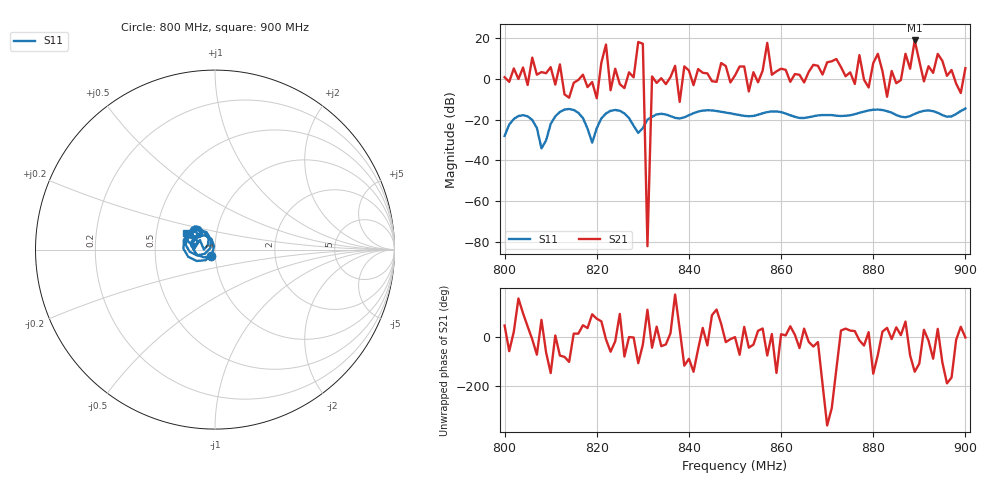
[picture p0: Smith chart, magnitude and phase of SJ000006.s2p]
!File created by NanoVNA-F V2
# Hz S RI R 50
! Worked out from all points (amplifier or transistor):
!   101 points, 800 MHz to 900 MHz, reference 50 ohm
!   highest |S21| = 18.8 dB at 889 MHz (marker M1)
!   |S21| within 3 dB of that: 828.8707 MHz to 830.0139 MHz (1.143 MHz wide, 0.138 % of centre)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
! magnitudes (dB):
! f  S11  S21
! 800 MHz  -28.0  0.8
! 817 MHz  -19.3  2.0
! 820 MHz  -24.2  -9.5
! 822 MHz  -17.0  16.8
! 823 MHz  -15.7  -5.6
! 826 MHz  -17.0  -4.5
! 830 MHz  -24.2  17.2
! 831 MHz  -20.0  -82.1
! 832 MHz  -18.6  1.2
! 834 MHz  -17.2  0.3
! 850 MHz  -17.4  1.6
! 855 MHz  -17.6  -1.7
! 857 MHz  -16.3  17.6
! 858 MHz  -16.0  2.0
! 867 MHz  -18.4  6.8
! 879 MHz  -15.5  -4.2
! 881 MHz  -15.1  12.3
! 883 MHz  -15.9  -8.8
! 884 MHz  -16.6  3.9
! 889 MHz  -17.2  18.8
! 891 MHz  -15.7  -1.3
! 900 MHz  -14.6  5.2
